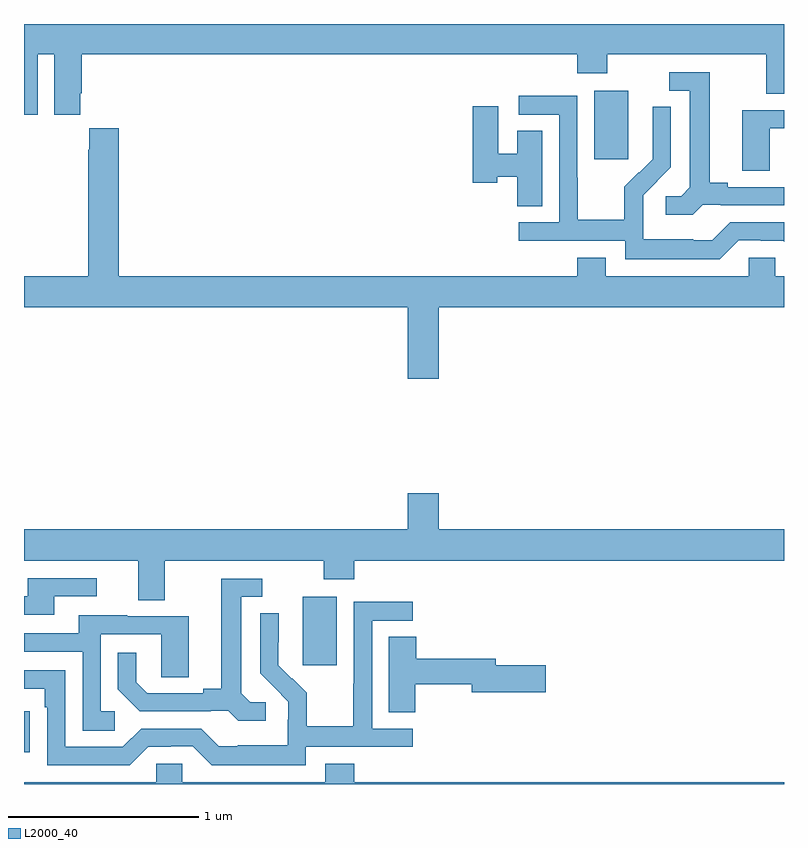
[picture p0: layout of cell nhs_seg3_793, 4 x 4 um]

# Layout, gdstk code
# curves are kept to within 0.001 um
import gdstk
lib = gdstk.Library(unit=1e-6, precision=1e-09)
def R(c, l, rs):  # rectangles x0, y0, x1, y1
    for r in rs: c.add(gdstk.rectangle(r[:2], r[2:], *l))
def P(c, l, *ps):  # polygons
    for p in ps: c.add(gdstk.Polygon(p, *l))
L2000_40 = (2000, 40)

nhs_seg3_793 = lib.new_cell('nhs_seg3_793')
R(nhs_seg3_793, L2000_40, [(151,706.566,151.031,706.784), (152.468,707.025,152.647,707.386), (154.001,709.689,154.18,710.05)])
P(nhs_seg3_793, L2000_40, [(151.072,710.24),(151.16,710.24),(151.16,709.923),(151.297,709.923),(151.297,710.035),(151.304,710.035),(151.304,710.24),(153.911,710.24),(153.911,710.141),(154.071,710.141),(154.071,710.24),(154.907,710.24),(154.907,710.032),(155,710.032),(155,710.4),(151,710.4),(151,709.923),(151.072,709.923)],
  [(154.572,709.449),(154.666,709.449),(154.666,709.446),(155,709.446),(155,709.542),(154.705,709.542),(154.705,709.565),(154.609,709.565),(154.609,710.145),(154.395,710.145),(154.395,710.049),(154.505,710.049),(154.505,709.541),(154.458,709.494),(154.377,709.494),(154.377,709.397),(154.52,709.397)],
  [(154.761,709.263),(154.877,709.263),(154.877,709.26),(154.995,709.26),(155,709.255),(155,709.356),(154.716,709.356),(154.623,709.263),(154.523,709.263),(154.523,709.267),(154.26,709.267),(154.26,709.401),(154.258,709.401),(154.258,709.498),(154.404,709.646),(154.404,709.964),(154.308,709.964),(154.308,709.81),(154.31,709.81),(154.31,709.688),(154.239,709.617),(154.236,709.62),(154.159,709.543),(154.159,709.369),(153.915,709.369),(153.915,709.592),(153.912,709.592),(153.912,710.022),(153.603,710.022),(153.603,709.923),(153.816,709.923),(153.816,709.356),(153.603,709.356),(153.603,709.26),(154.164,709.26),(154.164,709.163),(154.661,709.163)],
  [(153.727,709.838),(153.596,709.838),(153.596,709.717),(153.496,709.717),(153.496,709.966),(153.362,709.966),(153.362,709.565),(153.492,709.565),(153.492,709.595),(153.596,709.595),(153.596,709.441),(153.727,709.441)],
  [(154.926,709.851),(155,709.851),(155,709.947),(154.781,709.947),(154.781,709.627),(154.926,709.627)],
  [(153.184,708.908),(155,708.908),(155,709.072),(154.953,709.072),(154.953,709.17),(154.815,709.17),(154.815,709.072),(154.063,709.072),(154.063,709.171),(153.911,709.171),(153.911,709.072),(151.499,709.072),(151.499,709.852),(151.343,709.852),(151.343,709.739),(151.339,709.739),(151.339,709.072),(151,709.072),(151,708.908),(153.02,708.908),(153.02,708.534),(153.184,708.534)],
  [(151.741,707.576),(152.578,707.576),(152.578,707.477),(152.738,707.477),(152.738,707.576),(155,707.576),(155,707.74),(153.184,707.74),(153.184,707.929),(153.02,707.929),(153.02,707.74),(151,707.74),(151,707.576),(151.601,707.576),(151.601,707.368),(151.741,707.368)],
  [(151.159,707.388),(151.384,707.388),(151.384,707.484),(151.019,707.484),(151.019,707.388),(151,707.388),(151,707.292),(151.159,707.292)],
  [(152.272,706.83),(152.19,706.83),(152.143,706.877),(152.143,707.385),(152.254,707.385),(152.254,707.481),(152.039,707.481),(152.039,706.901),(151.943,706.901),(151.943,706.878),(151.648,706.878),(151.591,706.935),(151.591,707.092),(151.494,707.092),(151.494,706.898),(151.61,706.782),(151.982,706.782),(151.982,706.785),(152.076,706.785),(152.128,706.733),(152.272,706.733)],
  [(152.484,706.596),(153.046,706.596),(153.046,706.692),(152.832,706.692),(152.832,707.259),(153.046,707.259),(153.046,707.358),(152.736,707.358),(152.736,706.928),(152.734,706.928),(152.734,706.705),(152.489,706.705),(152.489,706.879),(152.412,706.956),(152.409,706.953),(152.339,707.024),(152.34,707.3),(152.244,707.3),(152.244,706.982),(152.39,706.834),(152.39,706.737),(152.388,706.737),(152.388,706.603),(152.125,706.603),(152.125,706.599),(152.025,706.599),(151.932,706.692),(151.617,706.692),(151.521,706.596),(151.218,706.596),(151.218,706.998),(151,706.998),(151,706.902),(151.109,706.902),(151.109,706.805),(151.122,706.805),(151.122,706.5),(151.557,706.5),(151.653,706.596),(151.772,706.596),(151.772,706.599),(151.887,706.599),(151.987,706.499),(152.484,706.499)],
  [(151.477,706.782),(151.404,706.782),(151.404,707.187),(151.722,707.187),(151.722,706.963),(151.867,706.963),(151.867,707.283),(151.543,707.283),(151.543,707.287),(151.289,707.287),(151.289,707.193),(151,707.193),(151,707.097),(151.308,707.097),(151.308,706.681),(151.477,706.681)],
  [(153.06,706.924),(153.356,706.924),(153.356,706.882),(153.745,706.882),(153.745,707.024),(153.484,707.024),(153.484,707.06),(153.065,707.06),(153.065,707.174),(152.921,707.174),(152.921,706.777),(153.06,706.777)],
  [(155,706.408),(152.738,706.408),(152.738,706.507),(152.585,706.507),(152.585,706.408),(151.833,706.408),(151.833,706.506),(151.695,706.506),(151.695,706.408),(151,706.408),(151,706.4),(155,706.4)])

lib.write_gds('nhs_seg3_793.gds')
